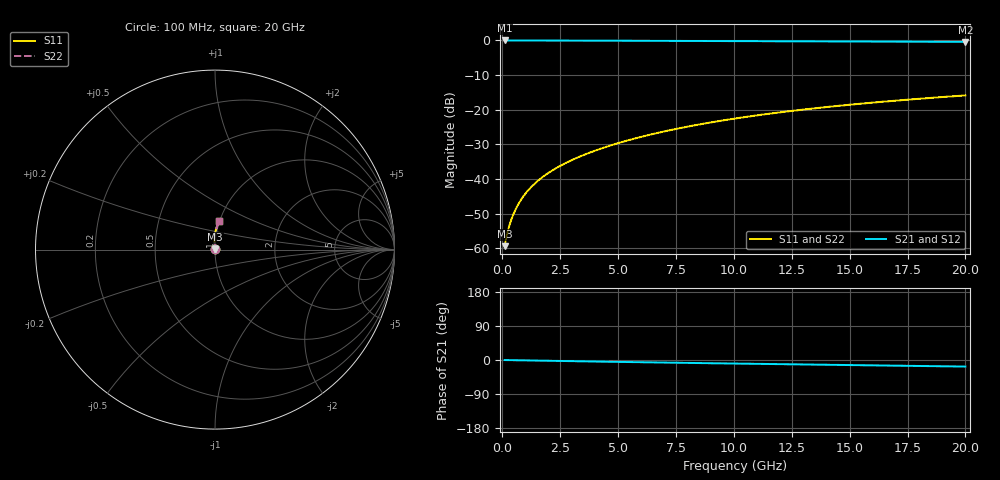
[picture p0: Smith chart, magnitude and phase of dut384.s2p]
! Touchstone file exported from HFSS 2024.1.0
!  File:  C:/UserFiles/LocalFiles/RDL_TSV_Batchsim/temp_RDL_bottom_384_1779613966.aedt
!  Generated:  05:15:50 PM May 24, 2026
!  Design:  RDL_bottom
!  Project:  temp_RDL_bottom_384_1779613966
!  Setup:  Setup1
!  Solution:  Sweep
! Variables:
!  dtsv = 10.80580581um
!  hbump = 3um
!  htsv = 74.63um
!  ldown = 240.13um
!  lrdl = 100um
!  p = 40
!  p1 = 50.78um
!  rhole = 1um
!  t = 450um
!  tdown = 4.87um
!  trdl = 3.915915916um
!  wdown = 27.57um
!  wrdl = 20um
# GHz S MA R 50.000000
! Terminal data exported
! Port[1] = RDL1_T1
! Port[2] = RDL1_T2
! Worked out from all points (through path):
!   200 points, 100 MHz to 20 GHz, reference 50 ohm
!   highest |S21| = -0.01 dB at 100 MHz (marker M1); lowest = -0.4 dB at 20 GHz (marker M2)
!   group delay of S21, straight-line fit = 2.37 ps
!   lowest |S11| = -59.4 dB at 100 MHz (marker M3), VSWR 1.00, Z = 50.1 + j0.0694 ohm
!   |S11| at or under -10 dB: start of sweep to end of sweep
!   |S22| runs from -59.4 to -15.9 dB; largest |S21 - S12| = 4.5e-15
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0.1  0.001073 40.2  0.9992 -0.1  0.9992 -0.1  0.001073 40.2
! Gamma 0 0 0 0
! Port Impedance 50 0 50 0
0.2  0.001574 56.1  0.9991 -0.2  0.9991 -0.2  0.001574 56.1
0.3  0.002103 64.6  0.999 -0.3  0.999 -0.3  0.002103 64.6
0.4  0.002653 70.0  0.9989 -0.4  0.9989 -0.4  0.002653 70.0
0.5  0.003219 73.7  0.9989 -0.5  0.9989 -0.5  0.003219 73.7
0.6  0.003795 76.4  0.9988 -0.6  0.9988 -0.6  0.003795 76.4
0.8  0.004969 80.1  0.9987 -0.8  0.9987 -0.8  0.004969 80.1
1.1  0.006763 83.4  0.9984 -1.2  0.9984 -1.2  0.006762 83.4
1.5  0.009194 86.1  0.9979 -1.6  0.9979 -1.6  0.009194 86.1
1.8  0.01105 87.6  0.9975 -1.9  0.9975 -1.9  0.01105 87.5
2.1  0.01292 88.7  0.997 -2.2  0.997 -2.2  0.01292 88.7
2.7  0.01677 90.4  0.9959 -2.8  0.9959 -2.8  0.01677 90.4
3.5  0.02211 92.0  0.9941 -3.6  0.9941 -3.6  0.02211 92.0
4.2  0.02702 92.9  0.9923 -4.3  0.9923 -4.3  0.02702 92.9
5  0.03289 93.5  0.9901 -5.0  0.9901 -5.0  0.03289 93.5
6.8  0.04704 93.8  0.985 -6.6  0.985 -6.6  0.04703 93.8
8.4  0.0604 93.0  0.9806 -8.0  0.9806 -8.0  0.0604 93.0
10.1  0.07507 91.6  0.9761 -9.4  0.9761 -9.4  0.07507 91.6
11.7  0.08909 90.0  0.9721 -10.7  0.9721 -10.7  0.08908 90.0
13.4  0.104 88.2  0.9681 -12.1  0.9681 -12.1  0.104 88.2
16.7  0.1327 84.6  0.9607 -14.7  0.9607 -14.7  0.1327 84.6
20  0.1608 81.1  0.9535 -17.3  0.9535 -17.3  0.1608 81.1
